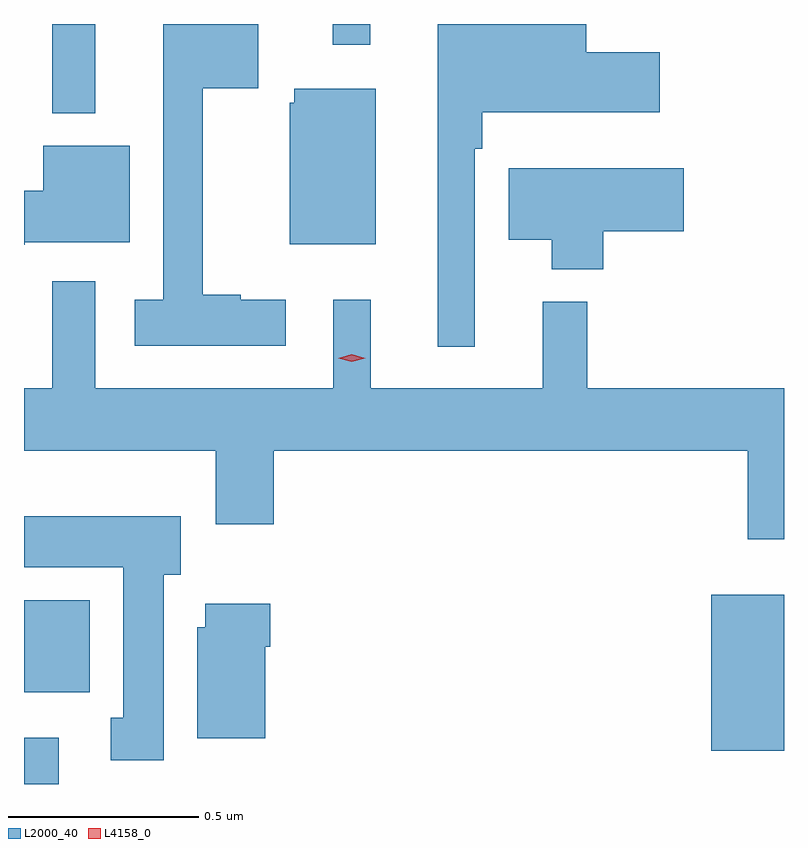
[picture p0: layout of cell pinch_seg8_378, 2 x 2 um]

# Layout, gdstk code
import gdstk
lib = gdstk.Library(unit=1e-6, precision=1e-09)
def R(c, l, rs):  # rectangles x0, y0, x1, y1
    for r in rs: c.add(gdstk.rectangle(r[:2], r[2:], *l))
def P(c, l, *ps):  # polygons
    for p in ps: c.add(gdstk.Polygon(p, *l))
L2000_40 = (2000, 40)
L4158_0 = (4158, 0)

pinch_seg8_378 = lib.new_cell('pinch_seg8_378')
R(pinch_seg8_378, L2000_40, [(485.879,1100.971,485.971,1101.093), (487.688,1101.059,487.879,1101.469), (485.879,1101.212,486.052,1101.454), (485.953,1102.736,486.067,1102.971), (486.692,1102.917,486.79,1102.971)])
P(pinch_seg8_378, L2000_40, [(486.568,1102.246),(486.45,1102.246),(486.45,1102.259),(486.349,1102.259),(486.349,1102.802),(486.496,1102.802),(486.496,1102.971),(486.245,1102.971),(486.245,1102.246),(486.171,1102.246),(486.171,1102.124),(486.568,1102.124)],
  [(487.065,1102.643),(487.085,1102.643),(487.085,1102.739),(487.552,1102.739),(487.552,1102.897),(487.358,1102.897),(487.358,1102.971),(486.968,1102.971),(486.968,1102.122),(487.065,1102.122)],
  [(486.805,1102.801),(486.59,1102.801),(486.59,1102.764),(486.578,1102.764),(486.578,1102.391),(486.805,1102.391)],
  [(485.881,1102.397),(486.157,1102.397),(486.157,1102.651),(485.93,1102.651),(485.93,1102.532),(485.879,1102.532),(485.879,1102.39),(485.881,1102.39)],
  [(487.403,1102.426),(487.615,1102.426),(487.615,1102.591),(487.154,1102.591),(487.154,1102.403),(487.268,1102.403),(487.268,1102.325),(487.403,1102.325)],
  [(487.879,1102.012),(487.361,1102.012),(487.361,1102.24),(487.244,1102.24),(487.244,1102.012),(486.791,1102.012),(486.791,1102.246),(486.693,1102.246),(486.693,1102.012),(486.067,1102.012),(486.067,1102.294),(485.953,1102.294),(485.953,1102.012),(485.879,1102.012),(485.879,1101.848),(486.383,1101.848),(486.383,1101.654),(486.536,1101.654),(486.536,1101.848),(487.783,1101.848),(487.783,1101.615),(487.879,1101.615)],
  [(486.247,1101.522),(486.292,1101.522),(486.292,1101.676),(485.879,1101.676),(485.879,1101.542),(486.14,1101.542),(486.14,1101.146),(486.107,1101.146),(486.107,1101.033),(486.247,1101.033)],
  [(486.514,1101.332),(486.527,1101.332),(486.527,1101.445),(486.356,1101.445),(486.356,1101.384),(486.335,1101.384),(486.335,1101.092),(486.514,1101.092)])
P(pinch_seg8_378, L4158_0, [(486.741,1102.082),(486.706,1102.092),(486.706,1102.092),(486.706,1102.092),(486.741,1102.102),(486.777,1102.092),(486.777,1102.092),(486.777,1102.092)])

lib.write_gds('pinch_seg8_378.gds')
